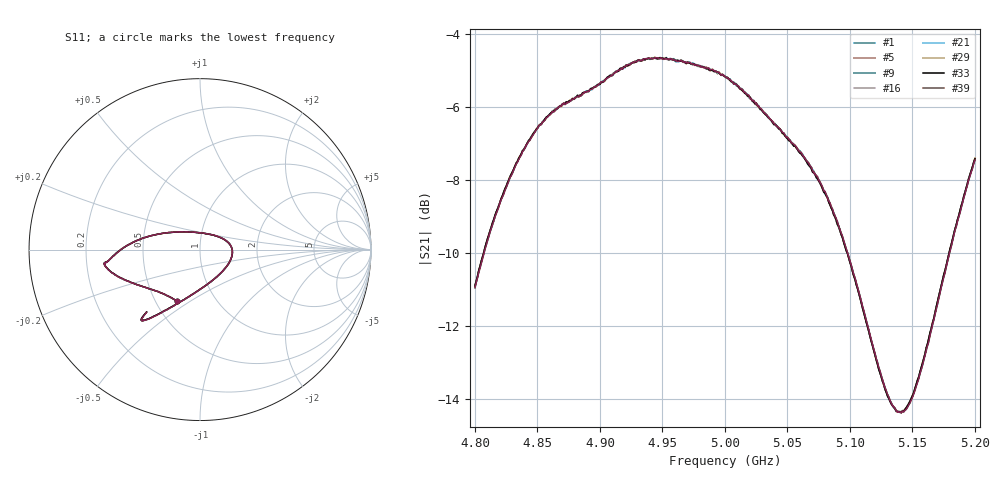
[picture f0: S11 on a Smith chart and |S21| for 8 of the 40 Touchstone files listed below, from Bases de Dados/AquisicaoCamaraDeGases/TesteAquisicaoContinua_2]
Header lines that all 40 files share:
! Network Analyzer HP8722D
! Hewlett-Packard
! Data name: Linha & Wilkinson
! Saver's name: Rodrigo Anjos
! Comments: Teste da utilização de aquisição
! continua pelo VNA HP8722D
!  Frequency  S11  S21  S12  S22
# HZ  S  MA R 50
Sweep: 4.8 GHz to 5.2 GHz
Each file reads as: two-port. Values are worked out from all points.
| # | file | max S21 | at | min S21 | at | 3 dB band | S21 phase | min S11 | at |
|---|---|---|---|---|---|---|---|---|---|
| 1 | teste_arseco&borbulhador_40RH_40.S2P | -4.64 dB | 4.948 GHz | -14.4 dB | 5.141 GHz | 4.832 GHz-5.068 GHz | -111 deg at 5 GHz | -20.2 dB | 5.007 GHz |
| 2 | teste_arseco&borbulhador_40RH_41.S2P | -4.64 dB | 4.946 GHz | -14.4 dB | 5.139 GHz | 4.832 GHz-5.068 GHz | -111 deg at 5 GHz | -20.2 dB | 5.008 GHz |
| 3 | teste_arseco&borbulhador_40RH_42.S2P | -4.65 dB | 4.944 GHz | -14.4 dB | 5.141 GHz | 4.832 GHz-5.068 GHz | -111 deg at 5 GHz | -20.2 dB | 5.008 GHz |
| 4 | teste_arseco&borbulhador_40RH_43.S2P | -4.63 dB | 4.945 GHz | -14.4 dB | 5.141 GHz | 4.832 GHz-5.068 GHz | -111 deg at 5 GHz | -20.2 dB | 5.007 GHz |
| 5 | teste_arseco&borbulhador_40RH_44.S2P | -4.63 dB | 4.944 GHz | -14.4 dB | 5.141 GHz | 4.832 GHz-5.068 GHz | -111 deg at 5 GHz | -20.2 dB | 5.007 GHz |
| 6 | teste_arseco&borbulhador_40RH_45.S2P | -4.64 dB | 4.944 GHz | -14.4 dB | 5.141 GHz | 4.832 GHz-5.068 GHz | -111 deg at 5 GHz | -20.3 dB | 5.007 GHz |
| 7 | teste_arseco&borbulhador_40RH_46.S2P | -4.62 dB | 4.944 GHz | -14.4 dB | 5.141 GHz | 4.833 GHz-5.068 GHz | -111 deg at 5 GHz | -20.2 dB | 5.007 GHz |
| 8 | teste_arseco&borbulhador_40RH_47.S2P | -4.64 dB | 4.944 GHz | -14.4 dB | 5.141 GHz | 4.832 GHz-5.068 GHz | -111 deg at 5 GHz | -20.2 dB | 5.007 GHz |
| 9 | teste_arseco&borbulhador_40RH_48.S2P | -4.64 dB | 4.953 GHz | -14.4 dB | 5.14 GHz | 4.832 GHz-5.069 GHz | -111 deg at 5 GHz | -20.2 dB | 5.007 GHz |
| 10 | teste_arseco&borbulhador_40RH_49.S2P | -4.65 dB | 4.943 GHz | -14.4 dB | 5.14 GHz | 4.832 GHz-5.068 GHz | -111 deg at 5 GHz | -20.2 dB | 5.005 GHz |
| 11 | teste_arseco&borbulhador_40RH_50.S2P | -4.65 dB | 4.943 GHz | -14.4 dB | 5.141 GHz | 4.832 GHz-5.068 GHz | -111 deg at 5 GHz | -20.2 dB | 5.005 GHz |
| 12 | teste_arseco&borbulhador_40RH_51.S2P | -4.63 dB | 4.944 GHz | -14.4 dB | 5.14 GHz | 4.832 GHz-5.068 GHz | -111 deg at 5 GHz | -20.2 dB | 5.006 GHz |
| 13 | teste_arseco&borbulhador_40RH_52.S2P | -4.63 dB | 4.944 GHz | -14.4 dB | 5.141 GHz | 4.832 GHz-5.067 GHz | -111 deg at 5 GHz | -20.3 dB | 5.007 GHz |
| 14 | teste_arseco&borbulhador_40RH_53.S2P | -4.64 dB | 4.944 GHz | -14.4 dB | 5.141 GHz | 4.832 GHz-5.068 GHz | -111 deg at 5 GHz | -20.3 dB | 5.007 GHz |
| 15 | teste_arseco&borbulhador_40RH_54.S2P | -4.64 dB | 4.944 GHz | -14.4 dB | 5.141 GHz | 4.832 GHz-5.068 GHz | -111 deg at 5 GHz | -20.2 dB | 5.007 GHz |
| 16 | teste_arseco&borbulhador_40RH_55.S2P | -4.64 dB | 4.942 GHz | -14.4 dB | 5.141 GHz | 4.832 GHz-5.068 GHz | -111 deg at 5 GHz | -20.2 dB | 5.008 GHz |
| 17 | teste_arseco&borbulhador_40RH_56.S2P | -4.63 dB | 4.944 GHz | -14.4 dB | 5.14 GHz | 4.832 GHz-5.067 GHz | -111 deg at 5 GHz | -20.2 dB | 5.007 GHz |
| 18 | teste_arseco&borbulhador_40RH_57.S2P | -4.63 dB | 4.944 GHz | -14.4 dB | 5.14 GHz | 4.832 GHz-5.068 GHz | -111 deg at 5 GHz | -20.2 dB | 5.007 GHz |
| 19 | teste_arseco&borbulhador_40RH_58.S2P | -4.63 dB | 4.944 GHz | -14.4 dB | 5.141 GHz | 4.833 GHz-5.068 GHz | -111 deg at 5 GHz | -20.3 dB | 5.007 GHz |
| 20 | teste_arseco&borbulhador_40RH_59.S2P | -4.64 dB | 4.944 GHz | -14.4 dB | 5.141 GHz | 4.832 GHz-5.068 GHz | -111 deg at 5 GHz | -20.3 dB | 5.007 GHz |
| 21 | teste_arseco&borbulhador_40RH_60.S2P | -4.65 dB | 4.944 GHz | -14.4 dB | 5.139 GHz | 4.832 GHz-5.067 GHz | -111 deg at 5 GHz | -20.2 dB | 5.007 GHz |
| 22 | teste_arseco&borbulhador_40RH_61.S2P | -4.64 dB | 4.944 GHz | -14.4 dB | 5.141 GHz | 4.832 GHz-5.068 GHz | -111 deg at 5 GHz | -20.3 dB | 5.007 GHz |
| 23 | teste_arseco&borbulhador_40RH_62.S2P | -4.64 dB | 4.944 GHz | -14.4 dB | 5.139 GHz | 4.832 GHz-5.068 GHz | -111 deg at 5 GHz | -20.3 dB | 5.007 GHz |
| 24 | teste_arseco&borbulhador_40RH_63.S2P | -4.65 dB | 4.949 GHz | -14.4 dB | 5.141 GHz | 4.832 GHz-5.068 GHz | -111 deg at 5 GHz | -20.3 dB | 5.007 GHz |
| 25 | teste_arseco&borbulhador_40RH_64.S2P | -4.64 dB | 4.944 GHz | -14.4 dB | 5.141 GHz | 4.832 GHz-5.068 GHz | -111 deg at 5 GHz | -20.3 dB | 5.007 GHz |
| 26 | teste_arseco&borbulhador_40RH_65.S2P | -4.62 dB | 4.944 GHz | -14.4 dB | 5.141 GHz | 4.833 GHz-5.067 GHz | -111 deg at 5 GHz | -20.2 dB | 5.008 GHz |
| 27 | teste_arseco&borbulhador_40RH_66.S2P | -4.64 dB | 4.939 GHz | -14.4 dB | 5.141 GHz | 4.832 GHz-5.068 GHz | -111 deg at 5 GHz | -20.3 dB | 5.007 GHz |
| 28 | teste_arseco&borbulhador_40RH_67.S2P | -4.65 dB | 4.944 GHz | -14.4 dB | 5.141 GHz | 4.832 GHz-5.068 GHz | -111 deg at 5 GHz | -20.2 dB | 5.008 GHz |
| 29 | teste_arseco&borbulhador_40RH_68.S2P | -4.65 dB | 4.945 GHz | -14.4 dB | 5.139 GHz | 4.832 GHz-5.068 GHz | -111 deg at 5 GHz | -20.3 dB | 5.006 GHz |
| 30 | teste_arseco&borbulhador_40RH_69.S2P | -4.63 dB | 4.944 GHz | -14.4 dB | 5.14 GHz | 4.832 GHz-5.068 GHz | -111 deg at 5 GHz | -20.3 dB | 5.007 GHz |
| 31 | teste_arseco&borbulhador_40RH_70.S2P | -4.63 dB | 4.944 GHz | -14.4 dB | 5.139 GHz | 4.832 GHz-5.067 GHz | -111 deg at 5 GHz | -20.3 dB | 5.007 GHz |
| 32 | teste_arseco&borbulhador_40RH_71.S2P | -4.65 dB | 4.946 GHz | -14.4 dB | 5.141 GHz | 4.832 GHz-5.068 GHz | -111 deg at 5 GHz | -20.3 dB | 5.007 GHz |
| 33 | teste_arseco&borbulhador_40RH_72.S2P | -4.65 dB | 4.949 GHz | -14.4 dB | 5.14 GHz | 4.832 GHz-5.068 GHz | -111 deg at 5 GHz | -20.2 dB | 5.007 GHz |
| 34 | teste_arseco&borbulhador_40RH_73.S2P | -4.64 dB | 4.944 GHz | -14.4 dB | 5.141 GHz | 4.832 GHz-5.068 GHz | -111 deg at 5 GHz | -20.3 dB | 5.007 GHz |
| 35 | teste_arseco&borbulhador_40RH_74.S2P | -4.64 dB | 4.946 GHz | -14.4 dB | 5.141 GHz | 4.832 GHz-5.068 GHz | -111 deg at 5 GHz | -20.2 dB | 5.007 GHz |
| 36 | teste_arseco&borbulhador_40RH_75.S2P | -4.63 dB | 4.949 GHz | -14.4 dB | 5.141 GHz | 4.832 GHz-5.068 GHz | -111 deg at 5 GHz | -20.2 dB | 5.007 GHz |
| 37 | teste_arseco&borbulhador_40RH_76.S2P | -4.63 dB | 4.949 GHz | -14.4 dB | 5.141 GHz | 4.832 GHz-5.069 GHz | -111 deg at 5 GHz | -20.2 dB | 5.007 GHz |
| 38 | teste_arseco&borbulhador_40RH_77.S2P | -4.64 dB | 4.946 GHz | -14.4 dB | 5.141 GHz | 4.833 GHz-5.068 GHz | -111 deg at 5 GHz | -20.2 dB | 5.007 GHz |
| 39 | teste_arseco&borbulhador_40RH_78.S2P | -4.65 dB | 4.945 GHz | -14.4 dB | 5.141 GHz | 4.832 GHz-5.068 GHz | -111 deg at 5 GHz | -20.2 dB | 5.008 GHz |
| 40 | teste_arseco&borbulhador_40RH_79.S2P | -4.62 dB | 4.944 GHz | -14.4 dB | 5.141 GHz | 4.833 GHz-5.068 GHz | -111 deg at 5 GHz | -20.2 dB | 5.007 GHz |
